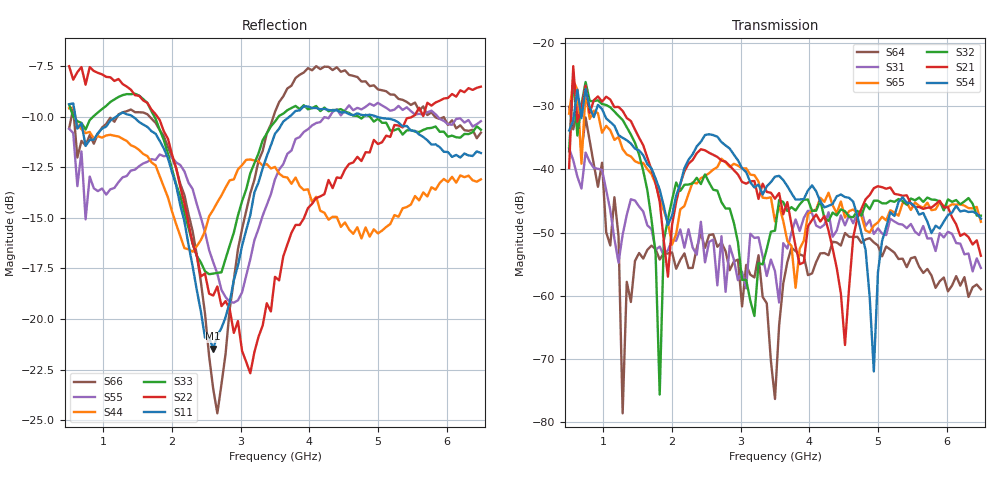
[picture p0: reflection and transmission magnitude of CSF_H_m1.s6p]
!Keysight Technologies,M9804A,MY58100912,A.14.10.03
!Date: Thursday, April 27, 2023 10:28:33
!Correction: S11(C  6-Port  )
!S12(C  6-Port  )
!S13(C  6-Port  )
!S14(C  6-Port  )
!S15(C  6-Port  )
!S16(C  6-Port  )
!S21(C  6-Port  )
!S22(C  6-Port  )
!S23(C  6-Port  )
!S24(C  6-Port  )
!S25(C  6-Port  )
!S26(C  6-Port  )
!S31(C  6-Port  )
!S32(C  6-Port  )
!S33(C  6-Port  )
!S34(C  6-Port  )
!S35(C  6-Port  )
!S36(C  6-Port  )
!S41(C  6-Port  )
!S42(C  6-Port  )
!S43(C  6-Port  )
!S44(C  6-Port  )
!S45(C  6-Port  )
!S46(C  6-Port  )
!S51(C  6-Port  )
!S52(C  6-Port  )
!S53(C  6-Port  )
!S54(C  6-Port  )
!S55(C  6-Port  )
!S56(C  6-Port  )
!S61(C  6-Port  )
!S62(C  6-Port  )
!S63(C  6-Port  )
!S64(C  6-Port  )
!S65(C  6-Port  )
!S66(C  6-Port  )
!S6P File: Measurement: :
# Hz S  RI  R 50
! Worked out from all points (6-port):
!   101 points, 500 MHz to 6.5 GHz, reference 50 ohm
!   strongest paths, dB at 500 MHz, 2 GHz, 3.5 GHz, 5 GHz, 6.5 GHz:
!     S54: -33.8, -47.3, -41.1, -56.3, -47.8
!     S21: -39.8, -48.8, -44.6, -42.7, -53.7
!     S32: -37.1, -44.8, -49.7, -45.0, -47.3
!     S65: -31.1, -51.9, -48.3, -48.4, -48.3
!     S31: -36.7, -51.2, -56.1, -49.3, -55.6
!     S64: -30.0, -53.1, -76.4, -52.1, -59.0
!   lowest |S11| = -21.5 dB at 2.6 GHz (marker M1), VSWR 1.18, Z = 42.5 + j2.22 ohm
!   |S11| at or under -10 dB: 591.4 MHz to 1.187 GHz (596 MHz wide, 67 % of centre); 1.428 GHz to 3.713 GHz (2.285 GHz wide, 88.9 % of centre); 4.978 GHz to end of sweep
